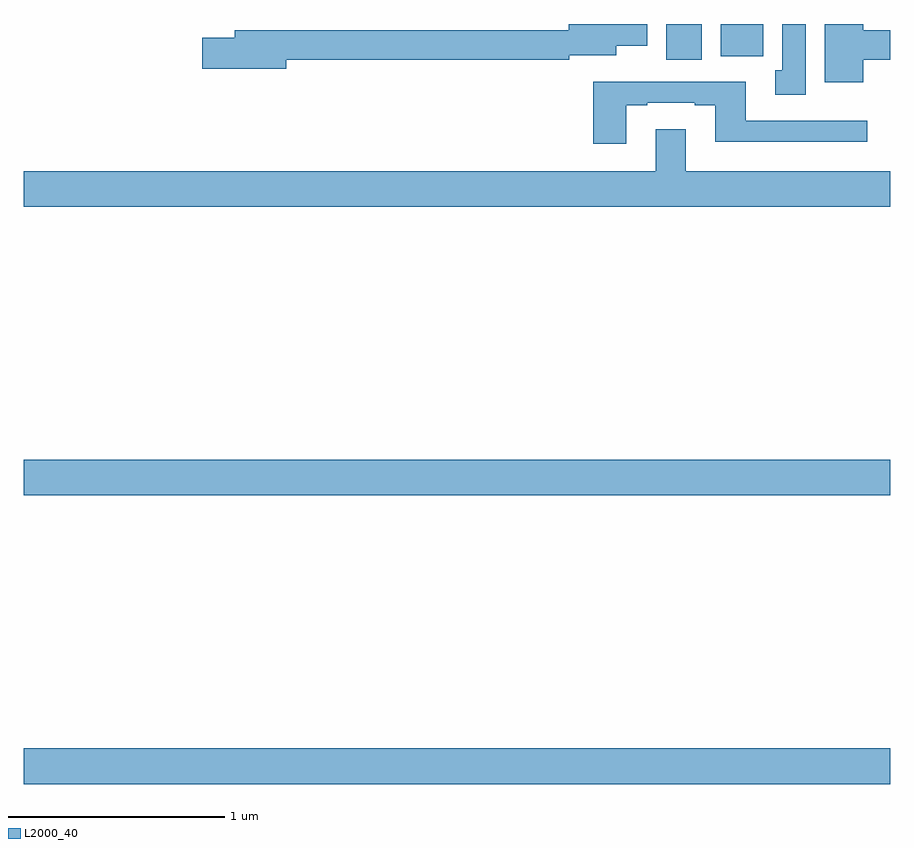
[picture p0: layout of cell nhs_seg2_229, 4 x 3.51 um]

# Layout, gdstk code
import gdstk
lib = gdstk.Library(unit=1e-6, precision=1e-09)
def R(c, l, rs):  # rectangles x0, y0, x1, y1
    for r in rs: c.add(gdstk.rectangle(r[:2], r[2:], *l))
def P(c, l, *ps):  # polygons
    for p in ps: c.add(gdstk.Polygon(p, *l))
L2000_40 = (2000, 40)

nhs_seg2_229 = lib.new_cell('nhs_seg2_229')
R(nhs_seg2_229, L2000_40, [(121,658.292,125,658.456), (121,659.624,125,659.788), (123.965,661.635,124.129,661.8), (124.217,661.652,124.414,661.8)])
P(nhs_seg2_229, L2000_40, [(124.609,661.8),(124.502,661.8),(124.502,661.586),(124.469,661.586),(124.469,661.473),(124.609,661.473)],
  [(122.212,661.636),(123.519,661.636),(123.519,661.655),(123.736,661.655),(123.736,661.7),(123.877,661.7),(123.877,661.8),(123.515,661.8),(123.515,661.772),(121.973,661.772),(121.973,661.736),(121.824,661.736),(121.824,661.594),(122.212,661.594)],
  [(124.876,661.636),(125,661.636),(125,661.772),(124.876,661.772),(124.876,661.8),(124.697,661.8),(124.697,661.532),(124.876,661.532)],
  [(123.781,661.425),(123.877,661.425),(123.877,661.437),(124.097,661.437),(124.097,661.425),(124.193,661.425),(124.193,661.256),(124.894,661.256),(124.894,661.353),(124.333,661.353),(124.333,661.533),(123.629,661.533),(123.629,661.248),(123.781,661.248)],
  [(125,661.12),(124.057,661.12),(124.057,661.315),(123.917,661.315),(123.917,661.12),(121,661.12),(121,660.956),(125,660.956)])

lib.write_gds('nhs_seg2_229.gds')
